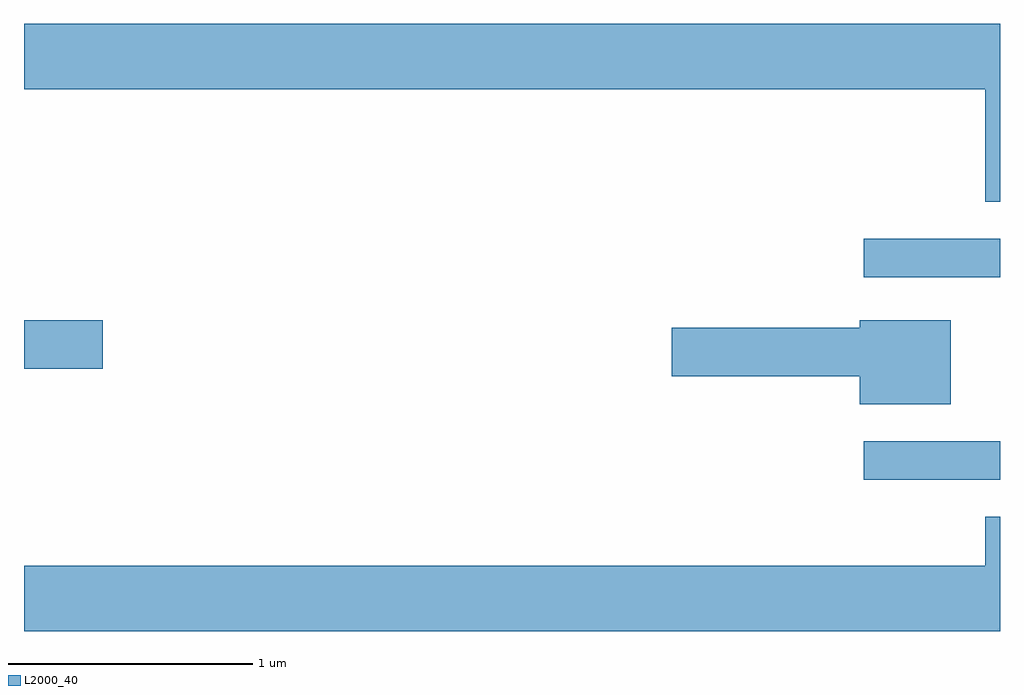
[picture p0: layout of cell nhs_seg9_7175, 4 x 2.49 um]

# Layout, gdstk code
import gdstk
lib = gdstk.Library(unit=1e-6, precision=1e-09)
def R(c, l, rs):  # rectangles x0, y0, x1, y1
    for r in rs: c.add(gdstk.rectangle(r[:2], r[2:], *l))
def P(c, l, *ps):  # polygons
    for p in ps: c.add(gdstk.Polygon(p, *l))
L2000_40 = (2000, 40)

nhs_seg9_7175 = lib.new_cell('nhs_seg9_7175')
R(nhs_seg9_7175, L2000_40, [(401.053,2005.756,401.611,2005.914), (397.611,2006.211,397.934,2006.409), (401.053,2006.586,401.611,2006.744)])
P(nhs_seg9_7175, L2000_40, [(401.611,2007.624),(397.611,2007.624),(397.611,2007.356),(401.551,2007.356),(401.551,2006.896),(401.611,2006.896)],
  [(401.409,2006.409),(401.036,2006.409),(401.036,2006.379),(400.266,2006.379),(400.266,2006.181),(401.036,2006.181),(401.036,2006.066),(401.409,2006.066)],
  [(401.611,2005.604),(401.551,2005.604),(401.551,2005.404),(397.611,2005.404),(397.611,2005.136),(401.611,2005.136)])

lib.write_gds('nhs_seg9_7175.gds')
